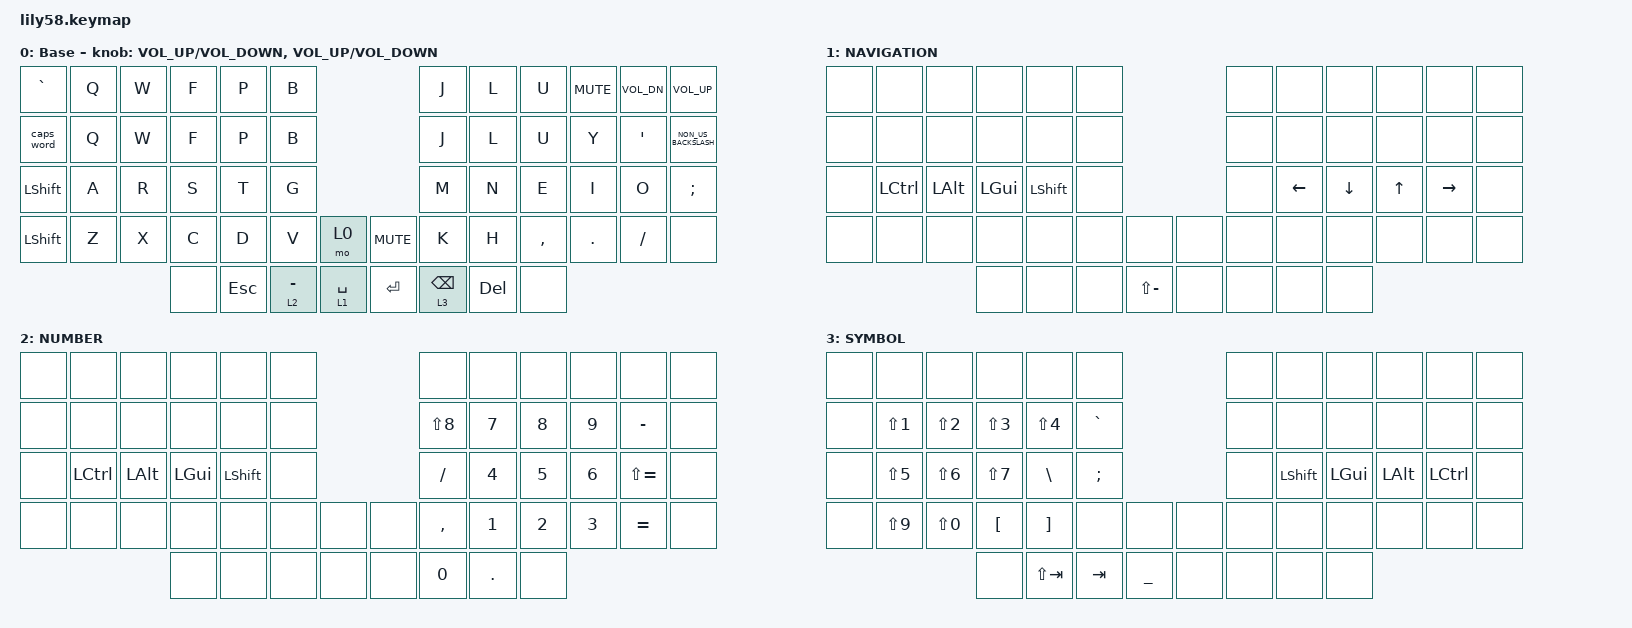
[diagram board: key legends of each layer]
/*
 * Copyright (c) 2020 The ZMK Contributors
 *
 * SPDX-License-Identifier: MIT
 */

#include <behaviors.dtsi>
#include <dt-bindings/zmk/keys.h>

/ {
    combos {
        compatible = "zmk,combos";

        Capsword {
            bindings = <&caps_word>;
            key-positions = <52 55>;
        };
    };

    behaviors {
        oneshot: oneshot {
            compatible = "zmk,behavior-sticky-key";
            label = "os";
            bindings = <&kp>;
            #binding-cells = <1>;
            release-after-ms = <1000>;
            quick-release;
            ignore-modifiers;
        };

        layer_oneshot_hold: lo_hold {
            compatible = "zmk,behavior-hold-tap";
            label = "lo_hold";
            bindings = <&mo>, <&oneshot>;

            #binding-cells = <2>;
            tapping-term-ms = <200>;
            flavor = "hold-preferred";
            quick-tap-ms = <200>;
            hold-while-undecided;
        };

        home_row_mod_right: hrm_right {
            compatible = "zmk,behavior-hold-tap";
            label = "HOME_ROW_MOD";
            bindings = <&kp>, <&kp>;

            #binding-cells = <2>;
            flavor = "tap-preferred";
            tapping-term-ms = <200>;
            quick-tap-ms = <200>;
            retro-tap;
            hold-trigger-key-positions = <0 1 2 3 4 5 12 13 14 15 16 17 24 25 26 27 28 29 36 37 38 39 40 41 42 50 51 52 53>;
        };

        ltmiryoku: mlt {
            compatible = "zmk,behavior-hold-tap";
            label = "LTMIRYOKU";
            bindings = <&mo>, <&kp>;

            #binding-cells = <2>;
            tapping-term-ms = <200>;
            flavor = "tap-preferred";
            quick-tap-ms = <200>;
            require-prior-idle-ms = <125>;
        };

        home_row_mod_left: hrm_left {
            compatible = "zmk,behavior-hold-tap";
            label = "HOME_ROW_MOD_LEFT";
            bindings = <&kp>, <&kp>;

            #binding-cells = <2>;
            flavor = "tap-preferred";
            tapping-term-ms = <200>;
            quick-tap-ms = <200>;
            hold-trigger-key-positions = <6 7 8 9 10 11 18 19 20 21 22 23 30 31 32 33 34 35 43 44 45 46 47 48 49 54 55 56 57>;
        };
    };

    macros {
        pin: pin {
            compatible = "zmk,behavior-macro";
            #binding-cells = <0>;
            bindings = <&none &kp N2 &kp N8 &kp N0 &kp N4 &kp N1 &kp N9 &kp N9 &kp N0>;
            label = "PIN";
        };

        pw: pw {
            compatible = "zmk,behavior-macro";
            #binding-cells = <0>;
            bindings = <&none &kp LS(D) &kp U &kp L &kp A &kp N &kp N7 &kp N8 &kp N9>;
            label = "PW";
        };

        email: email {
            compatible = "zmk,behavior-macro";
            #binding-cells = <0>;
            bindings = <&none &kp A &kp N &kp T &kp H &kp O &kp N &kp Y &kp DOT &kp T &kp O &kp H &kp AT &kp C &kp H &kp A &kp N &kp G &kp I &kp A &kp I &kp R &kp P &kp O &kp R &kp T &kp DOT &kp C &kp O &kp M>;
            label = "EMAIL";
        };
    };

    keymap {
        compatible = "zmk,keymap";

        Base {
            display-name = "Base";
            bindings = <
&kp GRAVE       &kp Q  &kp W  &kp F  &kp P       &kp B                                                 &kp J                   &kp L       &kp U      &kp C_MUTE  &kp C_VOL_DN  &kp C_VOLUME_UP
&caps_word      &kp Q  &kp W  &kp F  &kp P       &kp B                                                 &kp J                   &kp L       &kp U      &kp Y       &kp APOS      &kp NON_US_BACKSLASH
&kp LEFT_SHIFT  &kp A  &kp R  &kp S  &kp T       &kp G                                                 &kp M                   &kp N       &kp E      &kp I       &kp O         &kp SEMICOLON
&kp LEFT_SHIFT  &kp Z  &kp X  &kp C  &kp D       &kp V               &mo 0                 &kp C_MUTE  &kp K                   &kp H       &kp COMMA  &kp DOT     &kp FSLH      &none
                              &none  &kp ESCAPE  &ltmiryoku 2 MINUS  &ltmiryoku 1 SPACE    &kp RET     &ltmiryoku 3 BACKSPACE  &kp DELETE  &none
            >;

            sensor-bindings = <
              &inc_dec_kp C_VOLUME_UP C_VOLUME_DOWN
              &inc_dec_kp C_VOLUME_UP C_VOLUME_DOWN
            >;

            label = "BASE";
        };

        Nav {
            bindings = <
&none  &none      &none     &none     &none      &none                          &none  &none     &none           &none         &none      &none
&none  &none      &none     &none     &none      &none                          &none  &none     &none           &none         &none      &none
&none  &kp LCTRL  &kp LALT  &kp LGUI  &kp LSHFT  &none                          &none  &kp LEFT  &kp DOWN_ARROW  &kp UP_ARROW  &kp RIGHT  &none
&none  &none      &none     &none     &none      &none  &none            &none  &none  &none     &none           &none         &none      &none
                            &none     &none      &none  &kp LS(MINUS)    &none  &none  &none     &none
            >;

            label = "NAVIGATION";
        };

        Num {
            bindings = <
&none  &none      &none     &none     &none      &none                  &none       &none       &none   &none   &none          &none
&none  &none      &none     &none     &none      &none                  &kp LS(N8)  &kp N7      &kp N8  &kp N9  &kp MINUS      &none
&none  &kp LCTRL  &kp LALT  &kp LGUI  &kp LSHFT  &none                  &kp FSLH    &kp N4      &kp N5  &kp N6  &kp LS(EQUAL)  &none
&none  &none      &none     &none     &none      &none  &none    &none  &kp COMMA   &kp N1      &kp N2  &kp N3  &kp EQUAL      &none
                            &none     &none      &none  &none    &none  &kp N0      &kp PERIOD  &none
            >;

            label = "NUMBER";
        };

        Sym {
            bindings = <
&none  &none       &none       &none       &none        &none                               &none  &none      &none     &none     &none      &none
&none  &kp LS(N1)  &kp LS(N2)  &kp LS(N3)  &kp LS(N4)   &kp GRAVE                           &none  &none      &none     &none     &none      &none
&none  &kp LS(N5)  &kp LS(N6)  &kp LS(N7)  &kp BSLH     &kp SEMI                            &none  &kp LSHFT  &kp LGUI  &kp LALT  &kp LCTRL  &none
&none  &kp LS(N9)  &kp LS(N0)  &kp LBKT    &kp RBKT     &none      &none             &none  &none  &none      &none     &none     &none      &none
                               &none       &kp LS(TAB)  &kp TAB    &kp UNDERSCORE    &none  &none  &none      &none
            >;

            label = "SYMBOL";
        };
    };
};
